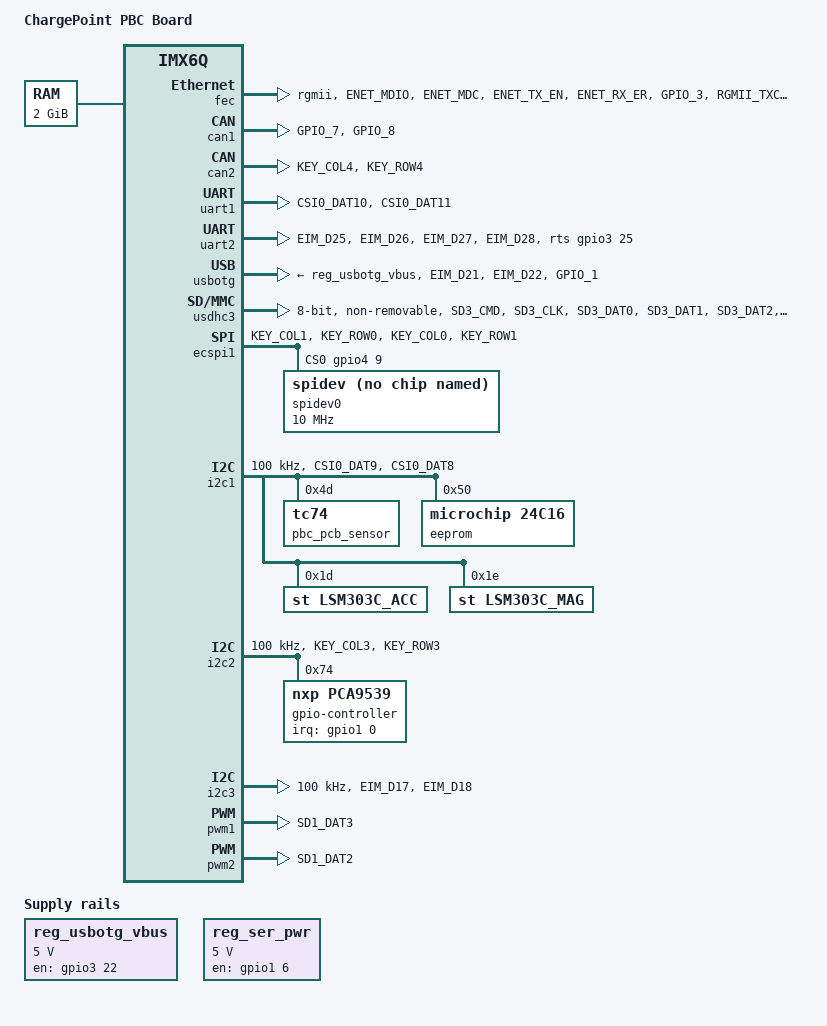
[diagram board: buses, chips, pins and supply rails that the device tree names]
/*
 * Copyright 2013 Boundary Devices
 * Copyright 2012 Freescale Semiconductor, Inc.
 * Copyright 2011 Linaro Ltd.
 *
 * The code contained herein is licensed under the GNU General Public
 * License. You may obtain a copy of the GNU General Public License
 * Version 2 or later at the following locations:
 *
 * http://www.opensource.org/licenses/gpl-license.html
 * http://www.gnu.org/copyleft/gpl.html
 */

/dts-v1/;

#include "imx6q.dtsi"
#include "imx6qp.dtsi"
#include <dt-bindings/gpio/gpio.h>
#include <dt-bindings/input/input.h>

/*
 * Refer emb-cpnk.git/kernel-imx -- imx6qp-cpnk.dtsi, imx6qp-sabresd-cpnk.dts
 */

/ {
        model = "ChargePoint PBC Board";
        compatible = "fsl,imx6q-sabresd", "fsl,imx6q", "fsl,imx6q-pbc";
        memory: memory {
                reg = <0x10000000 0x80000000>;
        };
};

&iomuxc {
        pinctrl-names = "default";
        pinctrl-0 = <&pinctrl_hog>;
        iomuxc_imx6q_pbc: iomuxc-imx6q-pbc-grp {
                status = "okay";
        };
};

&iomuxc_imx6q_pbc {
        pinctrl_hog: hoggrp {
                fsl,pins = <
                    MX6QDL_PAD_NANDF_CS0__GPIO6_IO11            0x1b0b0 /* ACCEL_INT_B */
                    MX6QDL_PAD_NANDF_CS1__GPIO6_IO14            0x1b0b0 /* MAG_INT_B */
                    MX6QDL_PAD_NANDF_CS2__GPIO6_IO15            0x1b0b0 /* MAG_DRDY */
                    MX6QDL_PAD_NANDF_D0__GPIO2_IO00             0x1b0b0 /* GPIO2_0 */
                    MX6QDL_PAD_NANDF_D1__GPIO2_IO01             0x1b0b0 /* GPIO2_1 */
                    MX6QDL_PAD_NANDF_D2__GPIO2_IO02             0x1b0b0 /* GPIO2_2 */
                    MX6QDL_PAD_NANDF_D3__GPIO2_IO03             0x1b0b0 /* GPIO2_3 */
                    MX6QDL_PAD_NANDF_D6__GPIO2_IO06             0x1b0b0 /* PS2SOC_PG */
                    MX6QDL_PAD_NANDF_ALE__GPIO6_IO08            0x1b0b0 /* SOC_SURGE_DET1 */
                    MX6QDL_PAD_NANDF_CLE__GPIO6_IO07            0x1b0b0 /* SOC_SURGE_DET2 */
                    MX6QDL_PAD_NANDF_WP_B__GPIO6_IO09           0x1b0b0 /* SOC_SURGE_DET3 */
                    MX6QDL_PAD_NANDF_RB0__GPIO6_IO10            0x1b0b0 /* SOC_SURGE_DET4 */
                    MX6QDL_PAD_NANDF_D4__GPIO2_IO04             0x1b0b0 /* SOC_SURGE_DET5 */

                    MX6QDL_PAD_EIM_D16__GPIO3_IO16              0x1b0b0 /* RTD_DRDYn */
                    MX6QDL_PAD_EIM_D19__GPIO3_IO19              0x1b0b0 /* RTD_START_SYNC */
                    MX6QDL_PAD_EIM_D20__GPIO3_IO20              0x1b0b0 /* PM_RESET_N */
                    MX6QDL_PAD_EIM_D23__GPIO3_IO23              0x1b0b0 /* SOC_THER_SW1 */
                    MX6QDL_PAD_EIM_D24__GPIO3_IO24              0x1b0b0 /* SOC_THER_SW2 */
                    MX6QDL_PAD_EIM_D29__GPIO3_IO29              0x1b0b0 /* PMIC_INT_B */
                    MX6QDL_PAD_EIM_D30__GPIO3_IO30              0x1b0b0 /* SOC_THER_SW3 */
                    MX6QDL_PAD_EIM_D31__GPIO3_IO31              0x1b0b0 /* SOC_THER_SW4 */

                    MX6QDL_PAD_SD4_DAT6__GPIO2_IO14             0x1b0b0 /* FAN_TACH_DSP0 */
                    MX6QDL_PAD_SD4_DAT7__GPIO2_IO15             0x1b0b0 /* FAN_TACH_DSP1 */

                    MX6QDL_PAD_GPIO_0__GPIO1_IO00               0x1b0b0 /* PM_INT_IN */
                    MX6QDL_PAD_GPIO_2__GPIO1_IO02               0x1b0b0 /* ETH_PWR_EN */
                    MX6QDL_PAD_GPIO_4__GPIO1_IO04               0x1b0b0 /* SOC_FLOAT_TRIP1 */
                    MX6QDL_PAD_GPIO_5__GPIO1_IO05               0x1b0b0 /* SOC_FLOAT_TRIP2 */
                    MX6QDL_PAD_GPIO_6__GPIO1_IO06               0x1b0b0 /* SER_PWR_EN */
                    MX6QDL_PAD_GPIO_16__GPIO7_IO11              0x1b0b0 /* SOC_REED1 */
                    MX6QDL_PAD_GPIO_17__GPIO7_IO12              0x1b0b0 /* SOC_REED2 */
                    MX6QDL_PAD_GPIO_18__GPIO7_IO13              0x1b0b0 /* SOC_REED3 */
                    MX6QDL_PAD_GPIO_19__GPIO4_IO05              0x1b0b0 /* SOC_REED4 */

                    MX6QDL_PAD_DISP0_DAT18__GPIO5_IO12          0x1b0b0 /* I2C PMIC ENABLE */
                    MX6QDL_PAD_GPIO_9__GPIO1_IO09               0x1b0b0 /* SOC_LED */
                    MX6QDL_PAD_KEY_ROW2__GPIO4_IO11             0x1b0b0 /* SOC_LED1 */
                >;
        };

        pinctrl_enet: enetgrp {
                fsl,pins = <
                    MX6QDL_PAD_ENET_MDIO__ENET_MDIO             0x1b0b0
                    MX6QDL_PAD_ENET_MDC__ENET_MDC               0x1b0b0
                    MX6QDL_PAD_ENET_TX_EN__ENET_TX_EN           0x1b0b0
                    MX6QDL_PAD_ENET_RX_ER__ENET_RX_ER           0x1b0b0
                    MX6QDL_PAD_GPIO_3__GPIO1_IO03               0x1b0b0 /* PHY_RSTn */

                    MX6QDL_PAD_RGMII_TXC__RGMII_TXC		0x1b030
                    MX6QDL_PAD_RGMII_TD0__RGMII_TD0		0x1b030
                    MX6QDL_PAD_RGMII_TD1__RGMII_TD1		0x1b030
                    MX6QDL_PAD_RGMII_TD2__RGMII_TD2		0x1b030
                    MX6QDL_PAD_RGMII_TD3__RGMII_TD3		0x1b030
                    MX6QDL_PAD_RGMII_TX_CTL__RGMII_TX_CTL	0x1b030
                    MX6QDL_PAD_RGMII_RXC__RGMII_RXC		0x1b030
                    MX6QDL_PAD_RGMII_RD0__RGMII_RD0		0x1b030
                    MX6QDL_PAD_RGMII_RD1__RGMII_RD1		0x1b030
                    MX6QDL_PAD_RGMII_RD2__RGMII_RD2		0x1b030
                    MX6QDL_PAD_RGMII_RD3__RGMII_RD3		0x1b030
                    MX6QDL_PAD_RGMII_RX_CTL__RGMII_RX_CTL	0x1b030
                >;
        };

        pinctrl_flexcan1: flexcan1grp {
                fsl,pins = <
                    MX6QDL_PAD_GPIO_7__FLEXCAN1_TX              0x1b0b0
                    MX6QDL_PAD_GPIO_8__FLEXCAN1_RX              0x1b0b0
                >;
        };

        pinctrl_flexcan2: flexcan2grp {
                fsl,pins = <
                    MX6QDL_PAD_KEY_COL4__FLEXCAN2_TX            0x1b0b0
                    MX6QDL_PAD_KEY_ROW4__FLEXCAN2_RX            0x1b0b0
                >;
        };

        pinctrl_i2c1: i2c1grp {
                fsl,pins = <
                    MX6QDL_PAD_CSI0_DAT9__I2C1_SCL              0x4001b0b1
                    MX6QDL_PAD_CSI0_DAT8__I2C1_SDA              0x4001b0b1
                >;
        };

        pinctrl_i2c2: i2c2grp {
                fsl,pins = <
                    MX6QDL_PAD_KEY_COL3__I2C2_SCL               0x4001b0b1
                    MX6QDL_PAD_KEY_ROW3__I2C2_SDA               0x4001b0b1
                >;
        };

        pinctrl_i2c3: i2c3grp {
                fsl,pins = <
                    MX6QDL_PAD_EIM_D17__I2C3_SCL                0x4001b0b1
                    MX6QDL_PAD_EIM_D18__I2C3_SDA                0x4001b0b1
                >;
        };

        pinctrl_uart1: uart1grp { /* DBG Console */
                fsl,pins = <
                    MX6QDL_PAD_CSI0_DAT10__UART1_TX_DATA        0x1b0b1
                    MX6QDL_PAD_CSI0_DAT11__UART1_RX_DATA        0x1b0b1
                >;
        };

        pinctrl_uart2: uart2grp { /* RS485 */
                fsl,pins = <
                    MX6QDL_PAD_EIM_D25__GPIO3_IO25              0x1b0b1
                    MX6QDL_PAD_EIM_D26__UART2_TX_DATA           0x1b0b1
                    MX6QDL_PAD_EIM_D27__UART2_RX_DATA           0x1b0b1
                    MX6QDL_PAD_EIM_D28__GPIO3_IO28              0x1b0b1
                >;
        };

        pinctrl_ecspi1: ecspi1grp {
                fsl,pins = <
                    MX6QDL_PAD_KEY_COL1__ECSPI1_MISO            0x100b1
                    MX6QDL_PAD_KEY_ROW0__ECSPI1_MOSI            0x100b1
                    MX6QDL_PAD_KEY_COL0__ECSPI1_SCLK            0x100b1
                    MX6QDL_PAD_KEY_ROW1__GPIO4_IO09             0x1b0b0
                >;
        };

        pinctrl_usdhc3: usdhc3grp { /* eMMC */
                fsl,pins = <
                    MX6QDL_PAD_SD3_CMD__SD3_CMD                 0x17059
                    MX6QDL_PAD_SD3_CLK__SD3_CLK                 0x10059
                    MX6QDL_PAD_SD3_DAT0__SD3_DATA0              0x17059
                    MX6QDL_PAD_SD3_DAT1__SD3_DATA1              0x17059
                    MX6QDL_PAD_SD3_DAT2__SD3_DATA2              0x17059
                    MX6QDL_PAD_SD3_DAT3__SD3_DATA3              0x17059
                    MX6QDL_PAD_SD3_DAT4__SD3_DATA4              0x17059
                    MX6QDL_PAD_SD3_DAT5__SD3_DATA5              0x17059
                    MX6QDL_PAD_SD3_DAT6__SD3_DATA6              0x17059
                    MX6QDL_PAD_SD3_DAT7__SD3_DATA7              0x17059
                    MX6QDL_PAD_SD3_RST__SD3_RESET               0x17059
                >;
        };

        pinctrl_usbotg: usbotggrp {
                fsl,pins = <
                    MX6QDL_PAD_EIM_D21__GPIO3_IO21              0x1b0b0 /* USB_OTG_OCn */
                    MX6QDL_PAD_EIM_D22__GPIO3_IO22              0x1b0b0 /* USB_OTG_PWR */
                    MX6QDL_PAD_GPIO_1__USB_OTG_ID               0x17059 /* USB_OTG_ID */
                >;
        };

        pinctrl_pwm1: pwm1grp { fsl,pins = < MX6QDL_PAD_SD1_DAT3__PWM1_OUT    0x1b0b0 >; };
        pinctrl_pwm2: pwm2grp { fsl,pins = < MX6QDL_PAD_SD1_DAT2__PWM2_OUT    0x1b0b0 >; };
};

/ {
        aliases {
                mmc0 = &usdhc3;
        };

        regulators {
                compatible = "simple-bus";
                #address-cells = <1>;
                #size-cells = <0>;

                reg_usbotg_vbus: regulator@0 {
                        compatible = "regulator-fixed";
                        reg = <0>;
                        regulator-name = "usb_otg_vbus";
                        regulator-min-microvolt = <5000000>;
                        regulator-max-microvolt = <5000000>;
                        gpio = <&gpio3 22 GPIO_ACTIVE_HIGH>;
                        enable-active-high;
                };
/*
                reg_eth_swh_pwr: regulator@1 {
                        compatible = "regulator-fixed";
                        reg = <1>;
                        regulator-name = "eth_pwr_en";
                        regulator-min-microvolt = <5000000>;
                        regulator-max-microvolt = <5000000>;
                        gpio = <&gpio1 2 GPIO_ACTIVE_HIGH>;
                        regulator-always-on;
                        enable-active-high;
                };
*/
                reg_ser_pwr: regulator@2 { /* for RS485 transceiver */
                        compatible = "regulator-fixed";
                        reg = <2>;
                        regulator-name = "ser_pwr_en";
                        regulator-min-microvolt = <5000000>;
                        regulator-max-microvolt = <5000000>;
                        gpio = <&gpio1 6 GPIO_ACTIVE_HIGH>;
                        regulator-always-on;
                        enable-active-high;
                };
        };
};

/* disable dvfs as it appears to be causing linux hang after boot */
&busfreq {
    status = "disabled";
};

&fec {
        pinctrl-names = "default";
        pinctrl-0 = <&pinctrl_enet>;
        phy-mode = "rgmii";
        phy-reset-gpios = <&gpio1 3 GPIO_ACTIVE_HIGH>;
        phy-reset-duration = <2>;
        /* phy-supply = <&reg_eth_swh_pwr>; */
        fsl,magic-packet;
        status = "okay";
};

&can1 {
        pinctrl-names = "default";
        pinctrl-0 = <&pinctrl_flexcan1>;
        status = "okay";
};

&can2 {
        pinctrl-names = "default";
        pinctrl-0 = <&pinctrl_flexcan2>;
        status = "okay";
};

&uart1 { /* console */
        pinctrl-names = "default";
        pinctrl-0 = <&pinctrl_uart1>;
        status = "okay";
};

&uart2 { /* RS485 */
        pinctrl-names = "default";
        pinctrl-0 = <&pinctrl_uart2>;
        rts-gpios = <&gpio3 25 GPIO_ACTIVE_HIGH>; /* RS485_DE */
        /* RS485_REn is set to low in uboot i.e we are always receive ready */
        linux,rs485-enabled-at-boot-time;
        rs485-rx-during-tx;
        status = "okay";
};

&usbotg {
        vbus-supply = <&reg_usbotg_vbus>;
        pinctrl-names = "default";
        pinctrl-0 = <&pinctrl_usbotg>;
        disable-over-current;
        srp-disable;
        hnp-disable;
        adp-disable;
        status = "okay";
};

&usdhc3 {  /* eMMC */
        pinctrl-names = "default";
        pinctrl-0 = <&pinctrl_usdhc3>;
        bus-width = <8>;
        non-removable;
        no-1-8-v;
        keep-power-in-suspend;
        status = "okay";
};

&ecspi1 {
        fsl,spi-num-chipselects = <1>;
        cs-gpios = <&gpio4 9 0>;
        pinctrl-names = "default";
        pinctrl-0 = <&pinctrl_ecspi1>;
        status = "okay";
        /* appears no driver for ADS114S08B RTD */
        spidev0: spi@0 {
                compatible = "rohm,dh2228fv"; /* just to disable boot warning from spidev driver */
                reg = <0>;
                spi-max-frequency = <10000000>; /* 10Mhz, not sure if this is correct for ADS114 */
        };
};

&i2c1 {
        clock-frequency = <100000>;
        pinctrl-names = "default";
        pinctrl-0 = <&pinctrl_i2c1>;
        status = "okay";

        pbc_pcb_sensor: tc74@4d {
                compatible = "tc74";
                reg = <0x4d>;
        };

        eeprom: eeprom@50 {
                compatible = "microchip,24c16";
                reg = <0x50>;
                pagesize = <16>;
        };

        /* tilt sensor */
        lsm303c_acc { /* Accelerometer */
                compatible = "st,lsm303c_acc";
                reg = <0x1d>;
        };
        lsm303c_mag { /* Magnetometer */
                compatible = "st,lsm303c_mag";
                reg = <0x1e>;
        };
};

&i2c2 {
        clock-frequency = <100000>;
        pinctrl-names = "default";
        pinctrl-0 = <&pinctrl_i2c2>;
        status = "okay";

        gpio-controller@77 { /* power module interface */
                compatible = "nxp,pca9539";
                reg = <0x74>;
                gpio-controller;
                #gpio-cells = <2>;
                interrupt-parent = <&gpio1>;
                interrupts = <0 IRQ_TYPE_LEVEL_LOW>;
        };
};

&i2c3 {
        clock-frequency = <100000>;
        pinctrl-names = "default";
        pinctrl-0 = <&pinctrl_i2c3>;
        status = "okay";
/*
        pmic: pfuze100@08 {
                compatible = "fsl,pfuze100";
                reg = <0x08>;
        };
*/
};

&pwm1 {
        pinctrl-names = "default";
        pinctrl-0 = <&pinctrl_pwm1>;
        status = "okay";
};

&pwm2 {
        pinctrl-names = "default";
        pinctrl-0 = <&pinctrl_pwm2>;
        status = "okay";
};
